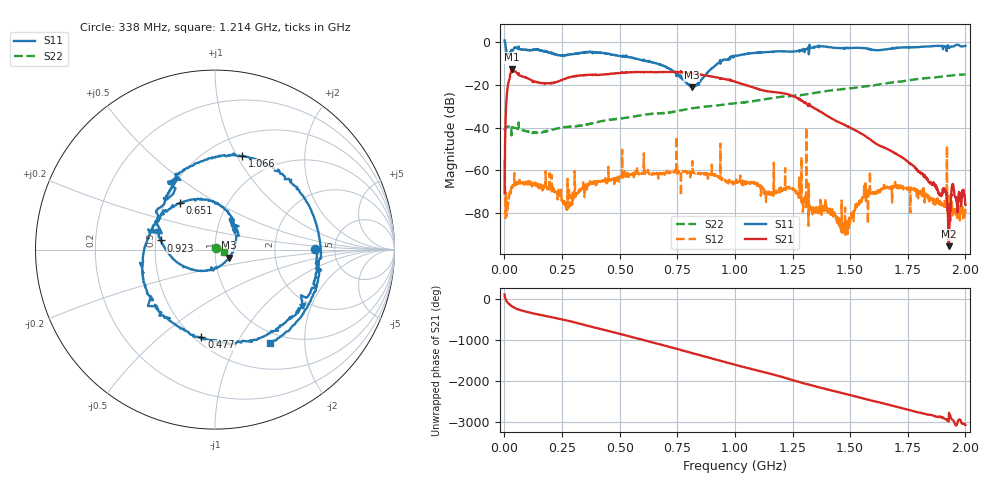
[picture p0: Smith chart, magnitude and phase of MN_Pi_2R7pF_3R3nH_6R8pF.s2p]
# GHZ S RI R 50.000000000000
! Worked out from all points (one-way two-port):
!   2000 points, 1 MHz to 2 GHz, reference 50 ohm
!   highest |S21| = -12.74 dB at 31 MHz (marker M1); lowest = -95.5 dB at 1.928 GHz (marker M2)
!   lowest |S11| = -21.1 dB at 812 MHz (marker M3), VSWR 1.19, Z = 58 - j5.2 ohm
!   |S11| at or under -10 dB: 659.8 MHz to 926.1 MHz (266.3 MHz wide, 33.6 % of centre); 936.9023 MHz to 937.2039 MHz (301.6 kHz wide, 0.0322 % of centre)
!   |S22| runs from -43.7 to -15.2 dB; largest |S21 - S12| = 0.23
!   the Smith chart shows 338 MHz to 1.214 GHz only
!   S11 on the Smith chart (normalised r, x): 338 MHz: 3.53, +0.06; 477 MHz: 0.54, -0.70; 651 MHz: 0.60, +0.34; 923 MHz: 0.53, +0.06; 1.066 GHz: 0.71, +1.05; 1.214 GHz: 0.84, -1.39
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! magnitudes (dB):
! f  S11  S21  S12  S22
! 1 MHz  0.7  -70.7  -55.3  -40.5
! 14 MHz  -5.9  -21.3  -78.6  -39.5
! 31 MHz  -3.7  -12.7  -68.7  -43.7
! 186 MHz  -4.6  -19.3  -68.8  -41.4
! 263 MHz  -6.2  -17.2  -74.6  -39.8
! 335 MHz  -5.1  -15.6  -68.8  -39.0
! 338 MHz  -5.1  -15.5  -67.8  -39.1
! 477 MHz  -6.1  -14.7  -66.5  -36.1
! 651 MHz  -9.8  -14.1  -61.6  -33.6
! 668 MHz  -10.3  -14.1  -63.9  -33.3
! 812 MHz  -21.1  -14.6  -61.0  -31.0
! 923 MHz  -10.3  -16.6  -62.8  -29.7
! 1.001 GHz  -6.5  -18.5  -66.1  -28.7
! 1.066 GHz  -5.3  -20.8  -65.8  -27.8
! 1.214 GHz  -4.4  -24.1  -68.6  -25.5
! 1.334 GHz  -2.6  -30.2  -79.2  -24.0
! 1.505 GHz  -2.8  -40.3  -80.2  -21.6
! 1.667 GHz  -3.3  -50.3  -67.2  -19.2
! 1.909 GHz  -2.0  -69.6  -76.7  -16.0
! 1.928 GHz  -2.5  -95.5  -78.3  -15.8
! 1.947 GHz  -2.1  -67.1  -78.8  -15.6
! 2 GHz  -1.8  -76.1  -78.0  -15.2
